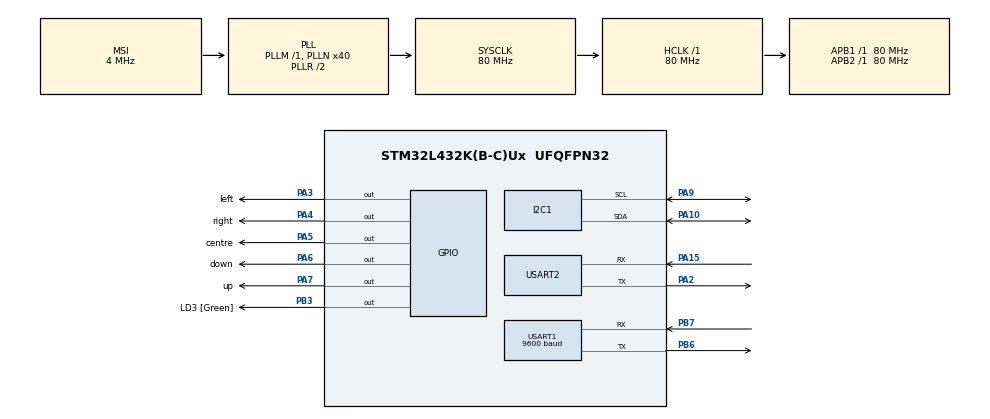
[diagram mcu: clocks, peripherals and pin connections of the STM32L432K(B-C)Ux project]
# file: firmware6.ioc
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I2C1.Timing=0x10D19CE4
Mcu.Family=STM32L4
Mcu.Name=STM32L432K(B-C)Ux
Mcu.Package=UFQFPN32
NVIC.PriorityGroup=NVIC_PRIORITYGROUP_4
NVIC.USART1_IRQn=true\:0\:0\:false\:false\:true\:true\:true\:true
NVIC.USART2_IRQn=true\:0\:0\:false\:false\:true\:true\:true\:true
PA0.GPIO_Label=MCO [High speed clock in]
PA0.Signal=RCC_CK_IN
PA10.GPIO_Pu=GPIO_PULLUP
PA10.Mode=I2C
PA10.Signal=I2C1_SDA
PA13\ (JTMS-SWDIO).GPIO_Label=SWDIO
PA13\ (JTMS-SWDIO).Mode=Serial_Wire
PA13\ (JTMS-SWDIO).Signal=SYS_JTMS-SWDIO
PA14\ (JTCK-SWCLK).GPIO_Label=SWCLK
PA14\ (JTCK-SWCLK).Mode=Serial_Wire
PA14\ (JTCK-SWCLK).Signal=SYS_JTCK-SWCLK
PA15\ (JTDI).Mode=Asynchronous
PA15\ (JTDI).Signal=USART2_RX
PA2.Mode=Asynchronous
PA2.Signal=USART2_TX
PA3.GPIO_Label=left
PA3.Signal=GPIO_Output
PA4.GPIO_Label=right
PA4.Signal=GPIO_Output
PA5.GPIO_Label=centre
PA5.Signal=GPIO_Output
PA6.GPIO_Label=down
PA6.Signal=GPIO_Output
PA7.GPIO_Label=up
PA7.Signal=GPIO_Output
PA9.GPIO_Pu=GPIO_PULLUP
PA9.Mode=I2C
PA9.Signal=I2C1_SCL
PB3\ (JTDO-TRACESWO).GPIO_Label=LD3 [Green]
PB3\ (JTDO-TRACESWO).Signal=GPIO_Output
PB6.Mode=Asynchronous
PB6.Signal=USART1_TX
PB7.Mode=Asynchronous
PB7.Signal=USART1_RX
PC14-OSC32_IN\ (PC14).Mode=LSE-External-Oscillator
PC14-OSC32_IN\ (PC14).Signal=RCC_OSC32_IN
PC15-OSC32_OUT\ (PC15).Mode=LSE-External-Oscillator
PC15-OSC32_OUT\ (PC15).Signal=RCC_OSC32_OUT
ProjectManager.HeapSize=0x200
ProjectManager.StackSize=0x400
ProjectManager.TargetToolchain=STM32CubeIDE
RCC.AHBFreq_Value=80000000
RCC.APB1Freq_Value=80000000
RCC.APB1TimFreq_Value=80000000
RCC.APB2Freq_Value=80000000
RCC.APB2TimFreq_Value=80000000
RCC.CortexFreq_Value=80000000
RCC.HCLKFreq_Value=80000000
RCC.HSE_VALUE=8000000
RCC.HSI16_VALUE=16000000
RCC.HSI48_VALUE=48000000
RCC.HSI_VALUE=16000000
RCC.MSI_VALUE=4000000
RCC.PLLMUL=RCC_PLLMUL_4
RCC.PLLN=40
RCC.SYSCLKFreq_VALUE=80000000
RCC.SYSCLKSource=RCC_SYSCLKSOURCE_PLLCLK
RCC.VCOOutputFreq_Value=160000000
USART1.BaudRate=9600
USART1.VirtualMode-Asynchronous=VM_ASYNC
USART2.VirtualMode-Asynchronous=VM_ASYNC
board=NUCLEO-L432KC

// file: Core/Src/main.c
/* USER CODE BEGIN Header */
/**
  ******************************************************************************
  * @file           : main.c
  * @brief          : Main program body
  ******************************************************************************
  * @attention
  *
  * Copyright (c) 2025 STMicroelectronics.
  * All rights reserved.
  *
  * This software is licensed under terms that can be found in the LICENSE file
  * in the root directory of this software component.
  * If no LICENSE file comes with this software, it is provided AS-IS.
  *
  ******************************************************************************
  */
/* USER CODE END Header */

/* USER CODE BEGIN Includes */
#include <stdio.h>
#include <string.h>
#include <math.h>
#include "main.h"
#include "NanoEdgeAI.h"

//#include "fast_math.h"
/* USER CODE END Includes */

I2C_HandleTypeDef hi2c1;

UART_HandleTypeDef huart1;
UART_HandleTypeDef huart2;

/* USER CODE BEGIN PV */
#define MPU_COUNT 4

#define MPU6050_ADDR   (0x68 << 1)
#define TCA9548A_ADDR  (0x70 << 1)

#define PWR_MGMT_1     0x6B
#define SMPLRT_DIV     0x19
#define GYRO_CONFIG    0x1B
#define ACCEL_CONFIG   0x1C
#define ACCEL_XOUT_H   0x3B
#define GYRO_XOUT_H    0x43

#define ACCEL_RESOLUTION   0.000061f
#define GYRO_RESOLUTION    0.0076f

#define DEG_TO_RAD         0.01745329252f
#define RAD_TO_DEG         57.29577951f

#define NEAI_INPUT_SIZE 12

float neai_input[NEAI_INPUT_SIZE];

int class_id = 0;
float output_class_buffer[NEAI_NUMBER_OF_CLASSES];   // Good / Bad

/* Raw data */
int16_t Ax_raw[MPU_COUNT], Ay_raw[MPU_COUNT], Az_raw[MPU_COUNT];
int16_t Gx_raw[MPU_COUNT], Gy_raw[MPU_COUNT], Gz_raw[MPU_COUNT];

/* Converted physical values */
float ax_g[MPU_COUNT], ay_g[MPU_COUNT], az_g[MPU_COUNT];
float gx_dps[MPU_COUNT], gy_dps[MPU_COUNT], gz_dps[MPU_COUNT];

/* Accelerometer Euler angles */
float acc_roll[MPU_COUNT], acc_pitch[MPU_COUNT];

/* Gyroscope Euler angles */
float gyro_roll[MPU_COUNT]  = {0};
float gyro_pitch[MPU_COUNT] = {0};
float gyro_yaw[MPU_COUNT]   = {0};

/* Kalman final Euler angles */
float kalman_roll[MPU_COUNT]  = {0};
float kalman_pitch[MPU_COUNT] = {0};
float yaw_angle[MPU_COUNT]    = {0};

float euler_output[12];
/* Kalman covariance matrix for each MPU6050 */
float P_prev[MPU_COUNT][2][2] = {0};

/* Noise covariance matrices from experiment */
float Q[2][2] = {
    {0.0027f, 0.0001f},
    {0.0001f, 0.0023f}
};

float R[2][2] = {
    {0.32f, 0.01f},
    {0.01f, 0.28f}
};

uint32_t last_time = 0;

/* USER CODE END PV */

void SystemClock_Config(void);
static void MX_GPIO_Init(void);
static void MX_USART2_UART_Init(void);
static void MX_I2C1_Init(void);
static void MX_USART1_UART_Init(void);

/* USER CODE BEGIN 0 */
int _write(int file, char *ptr, int len)
{
    HAL_UART_Transmit(&huart2, (uint8_t *)ptr, len, HAL_MAX_DELAY);
    HAL_UART_Transmit(&huart1, (uint8_t *)ptr, len, HAL_MAX_DELAY);
    return len;
}

HAL_StatusTypeDef TCA9548A_SelectChannel(uint8_t channel)
{
    uint8_t data = 1 << channel;
    return HAL_I2C_Master_Transmit(&hi2c1, TCA9548A_ADDR, &data, 1, HAL_MAX_DELAY);
}

void MPU6050_Init(void)
{
    uint8_t data;

    data = 0x00;
    HAL_I2C_Mem_Write(&hi2c1, MPU6050_ADDR, PWR_MGMT_1, 1, &data, 1, HAL_MAX_DELAY);

    data = 0x07;
    HAL_I2C_Mem_Write(&hi2c1, MPU6050_ADDR, SMPLRT_DIV, 1, &data, 1, HAL_MAX_DELAY);

    data = 0x00;
    HAL_I2C_Mem_Write(&hi2c1, MPU6050_ADDR, GYRO_CONFIG, 1, &data, 1, HAL_MAX_DELAY);

    data = 0x00;
    HAL_I2C_Mem_Write(&hi2c1, MPU6050_ADDR, ACCEL_CONFIG, 1, &data, 1, HAL_MAX_DELAY);
}

void MPU6050_Read_Accel(int16_t *Ax, int16_t *Ay, int16_t *Az)
{
    uint8_t Rec_Data[6];

    HAL_I2C_Mem_Read(&hi2c1, MPU6050_ADDR, ACCEL_XOUT_H, 1,
                     Rec_Data, 6, HAL_MAX_DELAY);

    *Ax = (int16_t)(Rec_Data[0] << 8 | Rec_Data[1]);
    *Ay = (int16_t)(Rec_Data[2] << 8 | Rec_Data[3]);
    *Az = (int16_t)(Rec_Data[4] << 8 | Rec_Data[5]);
}

void MPU6050_Read_Gyro(int16_t *Gx, int16_t *Gy, int16_t *Gz)
{
    uint8_t Rec_Data[6];

    HAL_I2C_Mem_Read(&hi2c1, MPU6050_ADDR, GYRO_XOUT_H, 1,
                     Rec_Data, 6, HAL_MAX_DELAY);

    *Gx = (int16_t)(Rec_Data[0] << 8 | Rec_Data[1]);
    *Gy = (int16_t)(Rec_Data[2] << 8 | Rec_Data[3]);
    *Gz = (int16_t)(Rec_Data[4] << 8 | Rec_Data[5]);
}

void MPU6050_Read_All(void)
{
    for (uint8_t ch = 0; ch < MPU_COUNT; ch++)
    {
        TCA9548A_SelectChannel(ch);
        HAL_Delay(2);

        MPU6050_Read_Accel(&Ax_raw[ch], &Ay_raw[ch], &Az_raw[ch]);
        MPU6050_Read_Gyro(&Gx_raw[ch], &Gy_raw[ch], &Gz_raw[ch]);

        ax_g[ch] = (float)Ax_raw[ch] * ACCEL_RESOLUTION;
        ay_g[ch] = (float)Ay_raw[ch] * ACCEL_RESOLUTION;
        az_g[ch] = (float)Az_raw[ch] * ACCEL_RESOLUTION;

        gx_dps[ch] = (float)Gx_raw[ch] * GYRO_RESOLUTION;
        gy_dps[ch] = (float)Gy_raw[ch] * GYRO_RESOLUTION;
        gz_dps[ch] = (float)Gz_raw[ch] * GYRO_RESOLUTION;
    }
}

void Calculate_Accelerometer_Euler(uint8_t i)
{
    acc_roll[i] = atan2f(ay_g[i], az_g[i]) * RAD_TO_DEG;

    acc_pitch[i] = -atan2f(ax_g[i],
                           sqrtf(ay_g[i] * ay_g[i] + az_g[i] * az_g[i]))
                           * RAD_TO_DEG;
}

void Calculate_Gyroscope_Euler(uint8_t i, float dt)
{
    float r = kalman_roll[i] * DEG_TO_RAD;
    float p = kalman_pitch[i] * DEG_TO_RAD;

    float gx = gx_dps[i];
    float gy = gy_dps[i];
    float gz = gz_dps[i];

    float cos_p = cosf(p);

    if (fabsf(cos_p) < 0.001f)
    {
        cos_p = 0.001f;
    }

    /*
       ZYX Euler angle rate transformation:

       [dr/dt]   [1  sin(p)sin(r)/cos(p)   cos(r)sin(p)/cos(p)] [gx]
       [dp/dt] = [0          cos(r)              -sin(r)       ] [gy]
       [dy/dt]   [0       sin(r)/cos(p)        cos(r)/cos(p)   ] [gz]
    */

    float dr_dt = gx
                + (sinf(p) * sinf(r) / cos_p) * gy
                + (cosf(r) * sinf(p) / cos_p) * gz;

    float dp_dt = cosf(r) * gy
                - sinf(r) * gz;

    float dy_dt = (sinf(r) / cos_p) * gy
                + (cosf(r) / cos_p) * gz;

    gyro_roll[i]  = kalman_roll[i]  + dr_dt * dt;
    gyro_pitch[i] = kalman_pitch[i] + dp_dt * dt;
    gyro_yaw[i]   = gyro_yaw[i]     + dy_dt * dt;

    yaw_angle[i] = gyro_yaw[i];
}

void Kalman_Filter_Update(uint8_t i)
{
    float P_curr[2][2];
    float K[2][2];

    /* Step 1: prediction error covariance update */
    P_curr[0][0] = P_prev[i][0][0] + Q[0][0];
    P_curr[0][1] = P_prev[i][0][1] + Q[0][1];
    P_curr[1][0] = P_prev[i][1][0] + Q[1][0];
    P_curr[1][1] = P_prev[i][1][1] + Q[1][1];

    /* Step 2: Kalman gain update */
    K[0][0] = P_curr[0][0] / (P_curr[0][0] + R[0][0]);
    K[0][1] = P_curr[0][1] / (P_curr[0][1] + R[0][1]);
    K[1][0] = P_curr[1][0] / (P_curr[1][0] + R[1][0]);
    K[1][1] = P_curr[1][1] / (P_curr[1][1] + R[1][1]);

    /* Step 3: state update */
    kalman_roll[i] = gyro_roll[i]
                   + K[0][0] * (acc_roll[i] - gyro_roll[i])
                   + K[0][1] * (acc_pitch[i] - gyro_pitch[i]);

    kalman_pitch[i] = gyro_pitch[i]
                    + K[1][0] * (acc_roll[i] - gyro_roll[i])
                    + K[1][1] * (acc_pitch[i] - gyro_pitch[i]);

    /* Step 4: posterior error covariance update */
    P_prev[i][0][0] = (1.0f - K[0][0]) * P_curr[0][0];
    P_prev[i][0][1] = (1.0f - K[0][1]) * P_curr[0][1];
    P_prev[i][1][0] = (1.0f - K[1][0]) * P_curr[1][0];
    P_prev[i][1][1] = (1.0f - K[1][1]) * P_curr[1][1];
}

void Update_All_Euler_Angles(float dt)
{
    for (uint8_t i = 0; i < MPU_COUNT; i++)
    {
        Calculate_Accelerometer_Euler(i);
        Calculate_Gyroscope_Euler(i, dt);
        Kalman_Filter_Update(i);
    }
}

/* USER CODE END 0 */

int main(void)
{

  /* MCU Configuration--------------------------------------------------------*/

  /* Reset of all peripherals, Initializes the Flash interface and the Systick. */
  HAL_Init();

  /* Configure the system clock */
  SystemClock_Config();

  /* Initialize all configured peripherals */
  MX_GPIO_Init();
  MX_USART2_UART_Init();
  MX_I2C1_Init();
  MX_USART1_UART_Init();
  /* USER CODE BEGIN 2 */
  setvbuf(stdout, NULL, _IONBF, 0);

  for (uint8_t ch = 0; ch < MPU_COUNT; ch++)
  {
      TCA9548A_SelectChannel(ch);
      HAL_Delay(5);
      MPU6050_Init();
      HAL_Delay(10);
  }

  enum neai_state neai_status;
  neai_status = neai_classification_init();

  if (neai_status != NEAI_OK)
  {
      printf("NanoEdge AI init failed\r\n");
  }
  else
  {
      printf("NanoEdge AI init OK\r\n");
  }

  last_time = HAL_GetTick();

  /* USER CODE END 2 */

  /* Infinite loop */
  /* USER CODE BEGIN WHILE */
  while (1)
  {
      uint32_t now = HAL_GetTick();
      float dt = (now - last_time) / 1000.0f;
      last_time = now;

      if (dt <= 0.0f || dt > 1.0f)
      {
          dt = 0.05f;
      }

      MPU6050_Read_All();
      Update_All_Euler_Angles(dt);

      euler_output[0]  = kalman_roll[0];
      euler_output[1]  = kalman_pitch[0];
      euler_output[2]  = yaw_angle[0];

      euler_output[3]  = kalman_roll[1];
      euler_output[4]  = kalman_pitch[1];
      euler_output[5]  = yaw_angle[1];

      euler_output[6]  = kalman_roll[2];
      euler_output[7]  = kalman_pitch[2];
      euler_output[8]  = yaw_angle[2];

      euler_output[9]  = kalman_roll[3];
      euler_output[10] = kalman_pitch[3];
      euler_output[11] = yaw_angle[3];

      for (uint8_t i = 0; i < NEAI_INPUT_SIZE; i++)
      {
          neai_input[i] = euler_output[i];
      }

      neai_classification(neai_input, output_class_buffer, &class_id);

      if (class_id == 0)
      {
          printf("Good Posture\r\n");
      }
      else if (class_id == 1)
      {
          printf("Bad Posture\r\n");
      }

      HAL_Delay(50);
  }
  /* USER CODE END 3 */
}

void SystemClock_Config(void)
{
  RCC_OscInitTypeDef RCC_OscInitStruct = {0};
  RCC_ClkInitTypeDef RCC_ClkInitStruct = {0};

  /** Configure the main internal regulator output voltage
  */
  if (HAL_PWREx_ControlVoltageScaling(PWR_REGULATOR_VOLTAGE_SCALE1) != HAL_OK)
  {
    Error_Handler();
  }

  /** Configure LSE Drive Capability
  */
  HAL_PWR_EnableBkUpAccess();
  __HAL_RCC_LSEDRIVE_CONFIG(RCC_LSEDRIVE_LOW);

  /** Initializes the RCC Oscillators according to the specified parameters
  * in the RCC_OscInitTypeDef structure.
  */
  RCC_OscInitStruct.OscillatorType = RCC_OSCILLATORTYPE_LSE|RCC_OSCILLATORTYPE_MSI;
  RCC_OscInitStruct.LSEState = RCC_LSE_ON;
  RCC_OscInitStruct.MSIState = RCC_MSI_ON;
  RCC_OscInitStruct.MSICalibrationValue = 0;
  RCC_OscInitStruct.MSIClockRange = RCC_MSIRANGE_6;
  RCC_OscInitStruct.PLL.PLLState = RCC_PLL_ON;
  RCC_OscInitStruct.PLL.PLLSource = RCC_PLLSOURCE_MSI;
  RCC_OscInitStruct.PLL.PLLM = 1;
  RCC_OscInitStruct.PLL.PLLN = 40;
  RCC_OscInitStruct.PLL.PLLP = RCC_PLLP_DIV7;
  RCC_OscInitStruct.PLL.PLLQ = RCC_PLLQ_DIV2;
  RCC_OscInitStruct.PLL.PLLR = RCC_PLLR_DIV2;
  if (HAL_RCC_OscConfig(&RCC_OscInitStruct) != HAL_OK)
  {
    Error_Handler();
  }

  /** Initializes the CPU, AHB and APB buses clocks
  */
  RCC_ClkInitStruct.ClockType = RCC_CLOCKTYPE_HCLK|RCC_CLOCKTYPE_SYSCLK
                              |RCC_CLOCKTYPE_PCLK1|RCC_CLOCKTYPE_PCLK2;
  RCC_ClkInitStruct.SYSCLKSource = RCC_SYSCLKSOURCE_PLLCLK;
  RCC_ClkInitStruct.AHBCLKDivider = RCC_SYSCLK_DIV1;
  RCC_ClkInitStruct.APB1CLKDivider = RCC_HCLK_DIV1;
  RCC_ClkInitStruct.APB2CLKDivider = RCC_HCLK_DIV1;

  if (HAL_RCC_ClockConfig(&RCC_ClkInitStruct, FLASH_LATENCY_4) != HAL_OK)
  {
    Error_Handler();
  }

  /** Enable MSI Auto calibration
  */
  HAL_RCCEx_EnableMSIPLLMode();
}

static void MX_I2C1_Init(void)
{

  hi2c1.Instance = I2C1;
  hi2c1.Init.Timing = 0x10D19CE4;
  hi2c1.Init.OwnAddress1 = 0;
  hi2c1.Init.AddressingMode = I2C_ADDRESSINGMODE_7BIT;
  hi2c1.Init.DualAddressMode = I2C_DUALADDRESS_DISABLE;
  hi2c1.Init.OwnAddress2 = 0;
  hi2c1.Init.OwnAddress2Masks = I2C_OA2_NOMASK;
  hi2c1.Init.GeneralCallMode = I2C_GENERALCALL_DISABLE;
  hi2c1.Init.NoStretchMode = I2C_NOSTRETCH_DISABLE;
  if (HAL_I2C_Init(&hi2c1) != HAL_OK)
  {
    Error_Handler();
  }

  /** Configure Analogue filter
  */
  if (HAL_I2CEx_ConfigAnalogFilter(&hi2c1, I2C_ANALOGFILTER_ENABLE) != HAL_OK)
  {
    Error_Handler();
  }

  /** Configure Digital filter
  */
  if (HAL_I2CEx_ConfigDigitalFilter(&hi2c1, 0) != HAL_OK)
  {
    Error_Handler();
  }

}

static void MX_USART1_UART_Init(void)
{

  huart1.Instance = USART1;
  huart1.Init.BaudRate = 9600;
  huart1.Init.WordLength = UART_WORDLENGTH_8B;
  huart1.Init.StopBits = UART_STOPBITS_1;
  huart1.Init.Parity = UART_PARITY_NONE;
  huart1.Init.Mode = UART_MODE_TX_RX;
  huart1.Init.HwFlowCtl = UART_HWCONTROL_NONE;
  huart1.Init.OverSampling = UART_OVERSAMPLING_16;
  huart1.Init.OneBitSampling = UART_ONE_BIT_SAMPLE_DISABLE;
  huart1.AdvancedInit.AdvFeatureInit = UART_ADVFEATURE_NO_INIT;
  if (HAL_UART_Init(&huart1) != HAL_OK)
  {
    Error_Handler();
  }

}

static void MX_USART2_UART_Init(void)
{

  huart2.Instance = USART2;
  huart2.Init.BaudRate = 115200;
  huart2.Init.WordLength = UART_WORDLENGTH_8B;
  huart2.Init.StopBits = UART_STOPBITS_1;
  huart2.Init.Parity = UART_PARITY_NONE;
  huart2.Init.Mode = UART_MODE_TX_RX;
  huart2.Init.HwFlowCtl = UART_HWCONTROL_NONE;
  huart2.Init.OverSampling = UART_OVERSAMPLING_16;
  huart2.Init.OneBitSampling = UART_ONE_BIT_SAMPLE_DISABLE;
  huart2.AdvancedInit.AdvFeatureInit = UART_ADVFEATURE_NO_INIT;
  if (HAL_UART_Init(&huart2) != HAL_OK)
  {
    Error_Handler();
  }

}

static void MX_GPIO_Init(void)
{
  GPIO_InitTypeDef GPIO_InitStruct = {0};

  /* GPIO Ports Clock Enable */
  __HAL_RCC_GPIOC_CLK_ENABLE();
  __HAL_RCC_GPIOA_CLK_ENABLE();
  __HAL_RCC_GPIOB_CLK_ENABLE();

  /*Configure GPIO pin Output Level */
  HAL_GPIO_WritePin(GPIOA, left_Pin|right_Pin|centre_Pin|down_Pin
                          |up_Pin, GPIO_PIN_RESET);

  /*Configure GPIO pin Output Level */
  HAL_GPIO_WritePin(LD3_GPIO_Port, LD3_Pin, GPIO_PIN_RESET);

  /*Configure GPIO pins : left_Pin right_Pin centre_Pin down_Pin
                           up_Pin */
  GPIO_InitStruct.Pin = left_Pin|right_Pin|centre_Pin|down_Pin
                          |up_Pin;
  GPIO_InitStruct.Mode = GPIO_MODE_OUTPUT_PP;
  GPIO_InitStruct.Pull = GPIO_NOPULL;
  GPIO_InitStruct.Speed = GPIO_SPEED_FREQ_LOW;
  HAL_GPIO_Init(GPIOA, &GPIO_InitStruct);

  /*Configure GPIO pin : LD3_Pin */
  GPIO_InitStruct.Pin = LD3_Pin;
  GPIO_InitStruct.Mode = GPIO_MODE_OUTPUT_PP;
  GPIO_InitStruct.Pull = GPIO_NOPULL;
  GPIO_InitStruct.Speed = GPIO_SPEED_FREQ_LOW;
  HAL_GPIO_Init(LD3_GPIO_Port, &GPIO_InitStruct);

}

void Error_Handler(void)
{
  __disable_irq();
  while (1)
  {
  }
}
